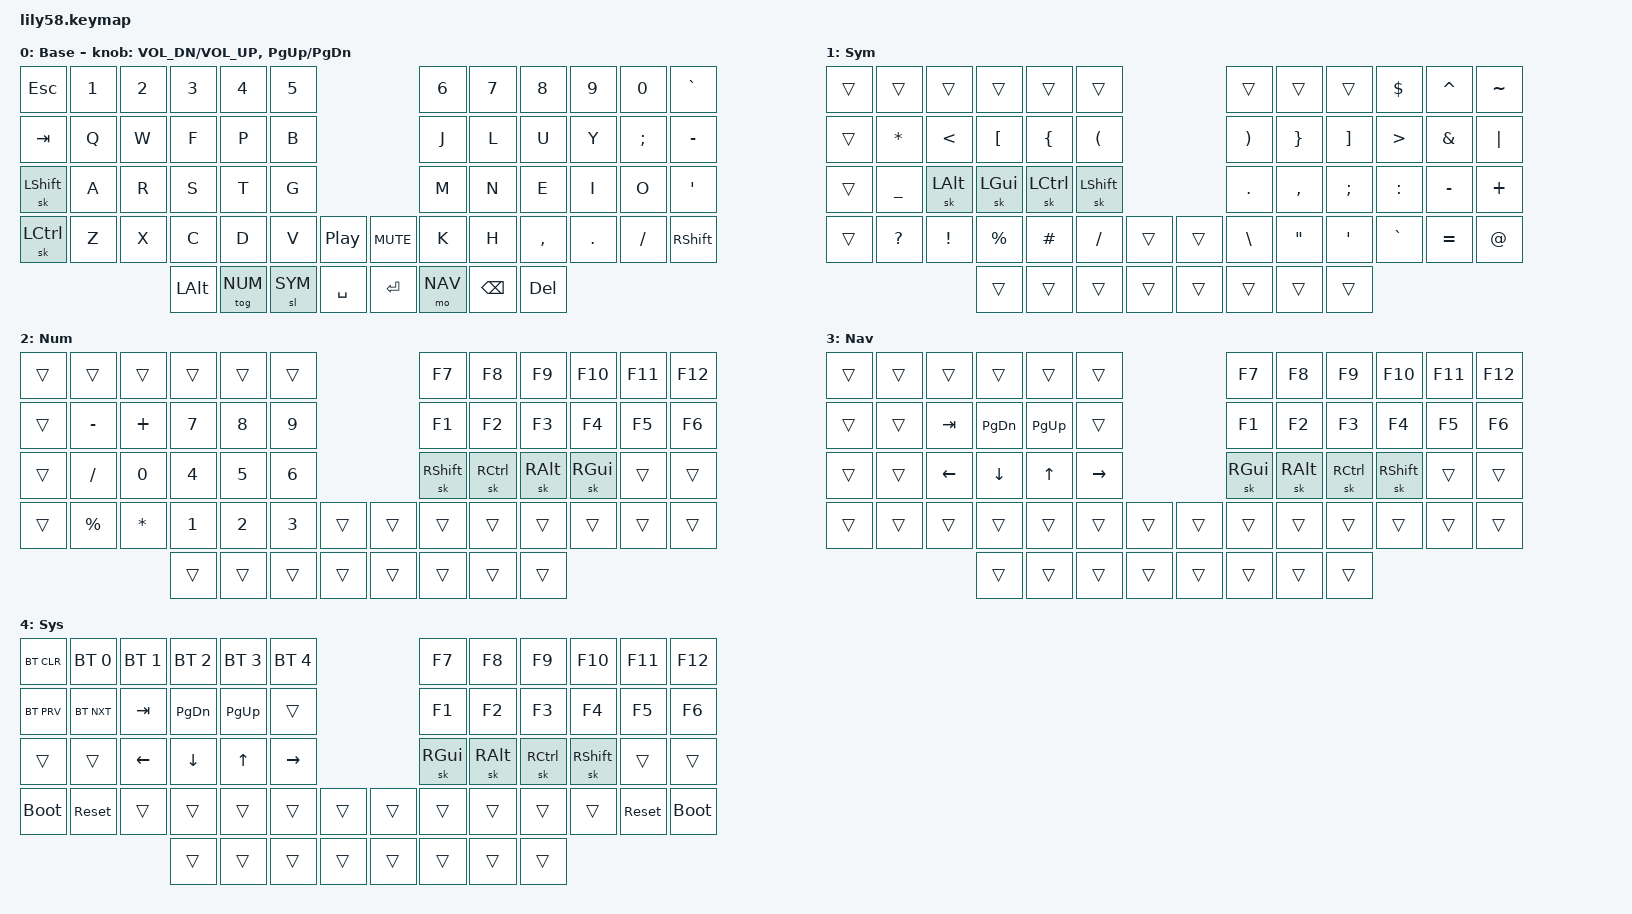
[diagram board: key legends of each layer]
/*
 * Copyright (c) 2020 The ZMK Contributors
 *
 * SPDX-License-Identifier: MIT
 */

#include <behaviors.dtsi>
#include <dt-bindings/zmk/bt.h>
#include <dt-bindings/zmk/keys.h>

// Define layers
#define DEFAULT     0 // Colemak-DHm: Colemak for matrix-like keyboards
#define SYM         1
#define NUM         2
#define NAV         3
#define SYS         4 // tri-layer: SYM + NUM

/ {
    conditional_layers {
        compatible = "zmk,conditional-layers";
        tri_layer {
            if-layers = <SYM NUM>;
            then-layer = <SYS>;
        };
    };

    keymap {
        compatible = "zmk,keymap";

        default_layer {
            display-name = "Base";
            bindings = <
// ╭─────────────┬─────────────┬─────────────┬─────────────┬─────────────┬─────────────╮                                      ╭─────────────┬─────────────┬─────────────┬─────────────┬─────────────┬─────────────╮
     &kp ESC       &kp N1        &kp N2        &kp N3        &kp N4        &kp N5                                               &kp N6        &kp N7        &kp N8        &kp N9        &kp N0        &kp GRAVE
// ├─────────────┼─────────────┼─────────────┼─────────────┼─────────────┤─────────────┤                                      ├─────────────┼─────────────┼─────────────┼─────────────┼─────────────┤─────────────┤
     &kp TAB       &kp Q         &kp W         &kp F         &kp P         &kp B                                                &kp J         &kp L         &kp U         &kp Y         &kp SEMI      &kp MINUS
// ├─────────────┼─────────────┼─────────────┼─────────────┼─────────────┤─────────────┤                                      ├─────────────┼─────────────┼─────────────┼─────────────┼─────────────┤─────────────┤
     &sk LSHFT     &kp A         &kp R         &kp S         &kp T         &kp G                                                &kp M         &kp N         &kp E         &kp I         &kp O         &kp SQT
// ├─────────────┼─────────────┼─────────────┼─────────────┼─────────────┤─────────────┤─────────────────╮  ╭─────────────────├─────────────┼─────────────┼─────────────┼─────────────┼─────────────┤─────────────┤
     &sk LCTRL     &kp Z         &kp X         &kp C         &kp D         &kp V         &kp C_PLAY_PAUSE     &kp C_MUTE        &kp K         &kp H         &kp COMMA     &kp DOT       &kp FSLH      &kp RSHFT
// ╰─────────────┴─────────────┴─────────────┼─────────────┼─────────────┤─────────────┤─────────────────┤  ├─────────────────├─────────────┼─────────────┼─────────────┼─────────────┴─────────────┴─────────────╯
                                               &kp LALT      &tog NUM      &sl SYM       &kp SPACE            &kp RET           &mo NAV       &kp BSPC      &kp DEL
//                                           ╰─────────────┴─────────────┴─────────────┴─────────────────╯  ╰─────────────────┴─────────────┴─────────────┴─────────────╯
            >;
            sensor-bindings = <&inc_dec_kp C_VOL_DN C_VOL_UP  &inc_dec_kp PG_UP PG_DN>;
        };

        sym_layer {
            display-name = "Sym";
            bindings = <
// ╭─────────────┬─────────────┬─────────────┬─────────────┬─────────────┬─────────────╮                                      ╭─────────────┬─────────────┬─────────────┬─────────────┬─────────────┬─────────────╮
     &trans        &trans        &trans        &trans        &trans        &trans                                               &trans        &trans        &trans        &kp DOLLAR    &kp CARET     &kp TILDE
// ├─────────────┼─────────────┼─────────────┼─────────────┼─────────────┤─────────────┤                                      ├─────────────┼─────────────┼─────────────┼─────────────┼─────────────┤─────────────┤
     &trans        &kp ASTRK     &kp LT        &kp LBKT      &kp LBRC      &kp LPAR                                             &kp RPAR      &kp RBRC      &kp RBKT      &kp GT        &kp AMPS      &kp PIPE
// ├─────────────┼─────────────┼─────────────┼─────────────┼─────────────┤─────────────┤                                      ├─────────────┼─────────────┼─────────────┼─────────────┼─────────────┤─────────────┤
     &trans        &kp UNDER     &sk LALT      &sk LGUI      &sk LCTRL     &sk LSHIFT                                           &kp DOT       &kp COMMA     &kp SEMI      &kp COLON     &kp MINUS     &kp PLUS
// ├─────────────┼─────────────┼─────────────┼─────────────┼─────────────┤─────────────┤─────────────────╮  ╭─────────────────├─────────────┼─────────────┼─────────────┼─────────────┼─────────────┤─────────────┤
     &trans        &kp QMARK     &kp EXCL      &kp PRCNT     &kp HASH      &kp FSLH      &trans               &trans            &kp BSLH      &kp DQT       &kp SQT       &kp GRAVE     &kp EQUAL     &kp AT
// ╰─────────────┴─────────────┴─────────────┼─────────────┼─────────────┤─────────────┤─────────────────┤  ├─────────────────├─────────────┼─────────────┼─────────────┼─────────────┴─────────────┴─────────────╯
                                               &trans        &trans        &trans        &trans               &trans            &trans        &trans        &trans
//                                           ╰─────────────┴─────────────┴─────────────┴─────────────────╯  ╰─────────────────┴─────────────┴─────────────┴─────────────╯
            >;
        };

        num_layer {
            display-name = "Num";
            bindings = <
// ╭─────────────┬─────────────┬─────────────┬─────────────┬─────────────┬─────────────╮                                      ╭─────────────┬─────────────┬─────────────┬─────────────┬─────────────┬─────────────╮
     &trans        &trans        &trans        &trans        &trans        &trans                                               &kp F7        &kp F8        &kp F9        &kp F10       &kp F11       &kp F12
// ├─────────────┼─────────────┼─────────────┼─────────────┼─────────────┤─────────────┤                                      ├─────────────┼─────────────┼─────────────┼─────────────┼─────────────┤─────────────┤
     &trans        &kp MINUS     &kp PLUS      &kp N7        &kp N8        &kp N9                                               &kp F1        &kp F2        &kp F3        &kp F4        &kp F5        &kp F6
// ├─────────────┼─────────────┼─────────────┼─────────────┼─────────────┤─────────────┤                                      ├─────────────┼─────────────┼─────────────┼─────────────┼─────────────┤─────────────┤
     &trans        &kp FSLH      &kp N0        &kp N4        &kp N5        &kp N6                                               &sk RSHIFT    &sk RCTRL     &sk RALT      &sk RGUI      &trans        &trans
// ├─────────────┼─────────────┼─────────────┼─────────────┼─────────────┤─────────────┤─────────────────╮  ╭─────────────────├─────────────┼─────────────┼─────────────┼─────────────┼─────────────┤─────────────┤
     &trans        &kp PRCNT     &kp ASTRK     &kp N1        &kp N2        &kp N3        &trans               &trans            &trans        &trans        &trans        &trans        &trans        &trans
// ╰─────────────┴─────────────┴─────────────┼─────────────┼─────────────┤─────────────┤─────────────────┤  ├─────────────────├─────────────┼─────────────┼─────────────┼─────────────┴─────────────┴─────────────╯
                                               &trans        &trans        &trans        &trans               &trans            &trans        &trans        &trans
//                                           ╰─────────────┴─────────────┴─────────────┴─────────────────╯  ╰─────────────────┴─────────────┴─────────────┴─────────────╯
            >;
        };

        nav_layer {
            display-name = "Nav";
            bindings = <
// ╭─────────────┬─────────────┬─────────────┬─────────────┬─────────────┬─────────────╮                                      ╭─────────────┬─────────────┬─────────────┬─────────────┬─────────────┬─────────────╮
     &trans        &trans        &trans        &trans        &trans        &trans                                               &kp F7        &kp F8        &kp F9        &kp F10       &kp F11       &kp F12
// ├─────────────┼─────────────┼─────────────┼─────────────┼─────────────┤─────────────┤                                      ├─────────────┼─────────────┼─────────────┼─────────────┼─────────────┤─────────────┤
     &trans        &trans        &kp TAB       &kp PG_DN     &kp PG_UP     &trans                                               &kp F1        &kp F2        &kp F3        &kp F4        &kp F5        &kp F6
// ├─────────────┼─────────────┼─────────────┼─────────────┼─────────────┤─────────────┤                                      ├─────────────┼─────────────┼─────────────┼─────────────┼─────────────┤─────────────┤
     &trans        &trans        &kp LEFT      &kp DOWN      &kp UP        &kp RIGHT                                            &sk RGUI      &sk RALT      &sk RCTRL     &sk RSHIFT    &trans        &trans
// ├─────────────┼─────────────┼─────────────┼─────────────┼─────────────┤─────────────┤─────────────────╮  ╭─────────────────├─────────────┼─────────────┼─────────────┼─────────────┼─────────────┤─────────────┤
     &trans        &trans        &trans        &trans        &trans        &trans        &trans               &trans            &trans        &trans        &trans        &trans        &trans        &trans
// ╰─────────────┴─────────────┴─────────────┼─────────────┼─────────────┤─────────────┤─────────────────┤  ├─────────────────├─────────────┼─────────────┼─────────────┼─────────────┴─────────────┴─────────────╯
                                               &trans        &trans        &trans        &trans               &trans            &trans        &trans        &trans
//                                           ╰─────────────┴─────────────┴─────────────┴─────────────────╯  ╰─────────────────┴─────────────┴─────────────┴─────────────╯
            >;
        };

        sys_layer {
            display-name = "Sys";
            bindings = <
// ╭─────────────┬─────────────┬─────────────┬─────────────┬─────────────┬─────────────╮                                      ╭─────────────┬─────────────┬─────────────┬─────────────┬─────────────┬─────────────╮
     &bt BT_CLR    &bt BT_SEL 0  &bt BT_SEL 1  &bt BT_SEL 2  &bt BT_SEL 3  &bt BT_SEL 4                                         &kp F7        &kp F8        &kp F9        &kp F10       &kp F11       &kp F12
// ├─────────────┼─────────────┼─────────────┼─────────────┼─────────────┤─────────────┤                                      ├─────────────┼─────────────┼─────────────┼─────────────┼─────────────┤─────────────┤
     &bt BT_PRV    &bt BT_NXT    &kp TAB       &kp PG_DN     &kp PG_UP     &trans                                               &kp F1        &kp F2        &kp F3        &kp F4        &kp F5        &kp F6
// ├─────────────┼─────────────┼─────────────┼─────────────┼─────────────┤─────────────┤                                      ├─────────────┼─────────────┼─────────────┼─────────────┼─────────────┤─────────────┤
     &trans        &trans        &kp LEFT      &kp DOWN      &kp UP        &kp RIGHT                                            &sk RGUI      &sk RALT      &sk RCTRL     &sk RSHIFT    &trans        &trans
// ├─────────────┼─────────────┼─────────────┼─────────────┼─────────────┤─────────────┤─────────────────╮  ╭─────────────────├─────────────┼─────────────┼─────────────┼─────────────┼─────────────┤─────────────┤
     &bootloader   &sys_reset    &trans        &trans        &trans        &trans        &trans               &trans            &trans        &trans        &trans        &trans        &sys_reset    &bootloader
// ╰─────────────┴─────────────┴─────────────┼─────────────┼─────────────┤─────────────┤─────────────────┤  ├─────────────────├─────────────┼─────────────┼─────────────┼─────────────┴─────────────┴─────────────╯
                                               &trans        &trans        &trans        &trans               &trans            &trans        &trans        &trans
//                                           ╰─────────────┴─────────────┴─────────────┴─────────────────╯  ╰─────────────────┴─────────────┴─────────────┴─────────────╯
            >;
        };
    };
};
